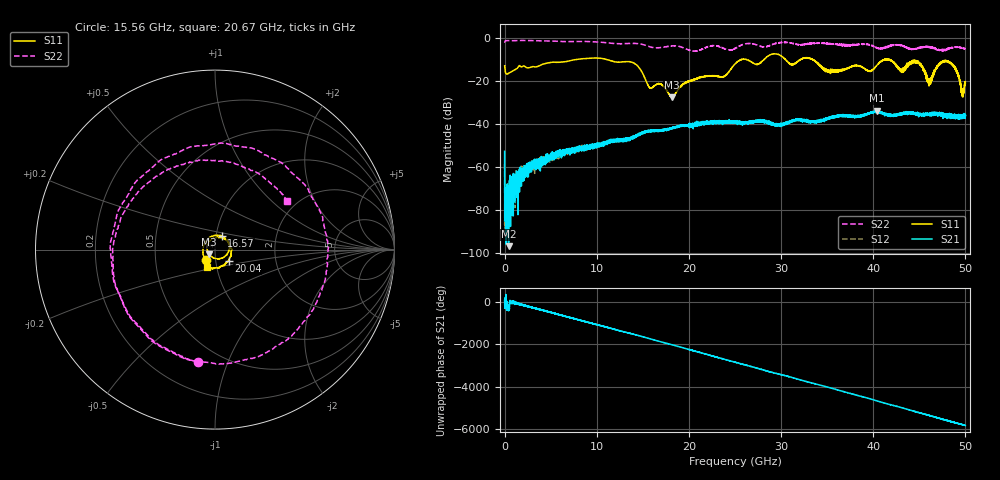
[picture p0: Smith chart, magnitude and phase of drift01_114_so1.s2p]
!Created with skrf (http://scikit-rf.org).
# Hz S RI R 50.0
!freq ReS11 ImS11 ReS21 ImS21 ReS12 ImS12 ReS22 ImS22
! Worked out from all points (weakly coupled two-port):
!   10001 points, 300 kHz to 50 GHz, reference 50 ohm
!   highest |S21| = -33.80 dB at 40.37 GHz (marker M1); lowest = -96.6 dB at 430.3 MHz (marker M2)
!   lowest |S11| = -27.7 dB at 18.12 GHz (marker M3), VSWR 1.09, Z = 46.8 - j2.36 ohm
!   |S11| at or under -10 dB: start of sweep to 8.083 GHz; 10.91 GHz to 26.01 GHz (15.1 GHz wide, 81.8 % of centre); 41.47 GHz to end of sweep (the widest 3 of 12)
!   |S22| runs from -6.4 to -1.4 dB; largest |S21 - S12| = 0.0039
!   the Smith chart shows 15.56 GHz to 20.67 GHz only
!   S11 on the Smith chart (normalised r, x): 15.56 GHz: 0.89, -0.11; 16.57 GHz: 1.06, +0.16; 20.04 GHz: 1.15, -0.15; 20.67 GHz: 0.89, -0.18
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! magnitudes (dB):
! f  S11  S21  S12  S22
! 300 kHz  -13.1  -52.7  -58.3  -2.0
! 255.3 MHz  -16.9  -72.1  -75.6  -1.4
! 430.3 MHz  -16.5  -96.6  -70.3  -1.4
! 3.15 GHz  -13.5  -59.2  -58.7  -1.4
! 8.335 GHz  -9.9  -50.8  -51.3  -1.8
! 13.86 GHz  -11.5  -46.2  -46.0  -2.7
! 15.56 GHz  -22.0  -43.5  -43.4  -4.0
! 16.57 GHz  -21.5  -43.0  -43.1  -4.7
! 16.67 GHz  -21.4  -43.1  -42.9  -4.8
! 18.12 GHz  -27.7  -41.9  -42.0  -3.9
! 20.04 GHz  -20.1  -41.5  -40.9  -5.9
! 20.67 GHz  -19.2  -39.3  -40.6  -6.3
! 25 GHz  -12.2  -39.1  -39.0  -5.0
! 33.34 GHz  -10.0  -39.3  -38.6  -2.7
! 35.24 GHz  -15.4  -37.2  -37.5  -2.9
! 40.37 GHz  -12.9  -33.8  -34.6  -4.7
! 41.67 GHz  -10.2  -35.7  -36.0  -4.4
! 43.08 GHz  -15.3  -35.1  -35.6  -3.7
! 44.8 GHz  -11.5  -35.2  -35.3  -4.9
! 46.11 GHz  -20.6  -35.3  -35.7  -4.7
! 48.07 GHz  -11.2  -36.1  -36.8  -5.1
! 50 GHz  -21.2  -35.9  -36.6  -5.4
